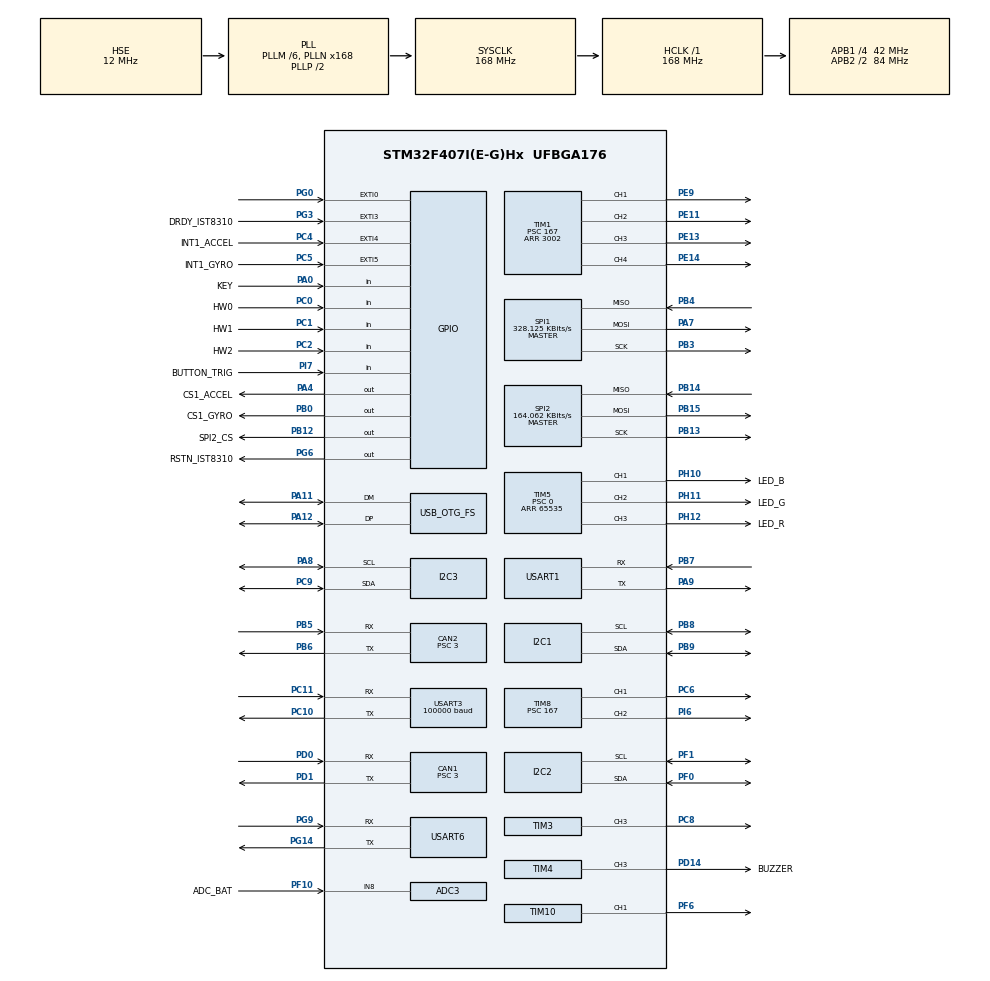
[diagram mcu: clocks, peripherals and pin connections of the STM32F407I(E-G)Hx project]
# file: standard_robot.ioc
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ADC1.Channel-0\#ChannelRegularConversion=ADC_CHANNEL_TEMPSENSOR
ADC1.ClockPrescaler=ADC_CLOCK_SYNC_PCLK_DIV6
ADC1.NbrOfConversionFlag=1
ADC1.Rank-0\#ChannelRegularConversion=1
ADC1.SamplingTime-0\#ChannelRegularConversion=ADC_SAMPLETIME_3CYCLES
ADC1.master=1
ADC3.Channel-0\#ChannelRegularConversion=ADC_CHANNEL_8
ADC3.ClockPrescaler=ADC_CLOCK_SYNC_PCLK_DIV6
ADC3.NbrOfConversionFlag=1
ADC3.Rank-0\#ChannelRegularConversion=1
ADC3.SamplingTime-0\#ChannelRegularConversion=ADC_SAMPLETIME_3CYCLES
CAN1.BS1=CAN_BS1_10TQ
CAN1.BS2=CAN_BS2_3TQ
CAN1.CalculateBaudRate=1000000
CAN1.CalculateTimeQuantum=71.42857142857143
CAN1.Prescaler=3
CAN2.BS1=CAN_BS1_10TQ
CAN2.BS2=CAN_BS2_3TQ
CAN2.CalculateBaudRate=1000000
CAN2.CalculateTimeQuantum=71.42857142857143
CAN2.Prescaler=3
Dma.I2C2_TX.2.Direction=DMA_MEMORY_TO_PERIPH
Dma.I2C2_TX.2.FIFOMode=DMA_FIFOMODE_DISABLE
Dma.I2C2_TX.2.Instance=DMA1_Stream7
Dma.I2C2_TX.2.MemDataAlignment=DMA_MDATAALIGN_BYTE
Dma.I2C2_TX.2.MemInc=DMA_MINC_ENABLE
Dma.I2C2_TX.2.Mode=DMA_NORMAL
Dma.I2C2_TX.2.PeriphDataAlignment=DMA_PDATAALIGN_BYTE
Dma.I2C2_TX.2.PeriphInc=DMA_PINC_DISABLE
Dma.I2C2_TX.2.Priority=DMA_PRIORITY_HIGH
Dma.Request0=SPI1_RX
Dma.Request1=SPI1_TX
Dma.Request2=I2C2_TX
Dma.Request3=USART3_RX
Dma.Request4=USART6_RX
Dma.Request5=USART6_TX
Dma.Request6=USART1_TX
Dma.Request7=USART1_RX
Dma.SPI1_RX.0.Direction=DMA_PERIPH_TO_MEMORY
Dma.SPI1_RX.0.FIFOMode=DMA_FIFOMODE_DISABLE
Dma.SPI1_RX.0.Instance=DMA2_Stream2
Dma.SPI1_RX.0.MemDataAlignment=DMA_MDATAALIGN_BYTE
Dma.SPI1_RX.0.MemInc=DMA_MINC_ENABLE
Dma.SPI1_RX.0.Mode=DMA_NORMAL
Dma.SPI1_RX.0.PeriphDataAlignment=DMA_PDATAALIGN_BYTE
Dma.SPI1_RX.0.PeriphInc=DMA_PINC_DISABLE
Dma.SPI1_RX.0.Priority=DMA_PRIORITY_VERY_HIGH
Dma.SPI1_TX.1.Direction=DMA_MEMORY_TO_PERIPH
Dma.SPI1_TX.1.FIFOMode=DMA_FIFOMODE_DISABLE
Dma.SPI1_TX.1.Instance=DMA2_Stream3
Dma.SPI1_TX.1.MemDataAlignment=DMA_MDATAALIGN_BYTE
Dma.SPI1_TX.1.MemInc=DMA_MINC_ENABLE
Dma.SPI1_TX.1.Mode=DMA_NORMAL
Dma.SPI1_TX.1.PeriphDataAlignment=DMA_PDATAALIGN_BYTE
Dma.SPI1_TX.1.PeriphInc=DMA_PINC_DISABLE
Dma.SPI1_TX.1.Priority=DMA_PRIORITY_HIGH
Dma.USART1_RX.7.Direction=DMA_PERIPH_TO_MEMORY
Dma.USART1_RX.7.FIFOMode=DMA_FIFOMODE_DISABLE
Dma.USART1_RX.7.Instance=DMA2_Stream5
Dma.USART1_RX.7.MemDataAlignment=DMA_MDATAALIGN_BYTE
Dma.USART1_RX.7.MemInc=DMA_MINC_ENABLE
Dma.USART1_RX.7.Mode=DMA_NORMAL
Dma.USART1_RX.7.PeriphDataAlignment=DMA_PDATAALIGN_BYTE
Dma.USART1_RX.7.PeriphInc=DMA_PINC_DISABLE
Dma.USART1_RX.7.Priority=DMA_PRIORITY_LOW
Dma.USART1_TX.6.Direction=DMA_MEMORY_TO_PERIPH
Dma.USART1_TX.6.FIFOMode=DMA_FIFOMODE_DISABLE
Dma.USART1_TX.6.Instance=DMA2_Stream7
Dma.USART1_TX.6.MemDataAlignment=DMA_MDATAALIGN_BYTE
Dma.USART1_TX.6.MemInc=DMA_MINC_ENABLE
Dma.USART1_TX.6.Mode=DMA_NORMAL
Dma.USART1_TX.6.PeriphDataAlignment=DMA_PDATAALIGN_BYTE
Dma.USART1_TX.6.PeriphInc=DMA_PINC_DISABLE
Dma.USART1_TX.6.Priority=DMA_PRIORITY_MEDIUM
Dma.USART3_RX.3.Direction=DMA_PERIPH_TO_MEMORY
Dma.USART3_RX.3.FIFOMode=DMA_FIFOMODE_DISABLE
Dma.USART3_RX.3.Instance=DMA1_Stream1
Dma.USART3_RX.3.MemDataAlignment=DMA_MDATAALIGN_BYTE
Dma.USART3_RX.3.MemInc=DMA_MINC_ENABLE
Dma.USART3_RX.3.Mode=DMA_NORMAL
Dma.USART3_RX.3.PeriphDataAlignment=DMA_PDATAALIGN_BYTE
Dma.USART3_RX.3.PeriphInc=DMA_PINC_DISABLE
Dma.USART3_RX.3.Priority=DMA_PRIORITY_HIGH
Dma.USART6_RX.4.Direction=DMA_PERIPH_TO_MEMORY
Dma.USART6_RX.4.FIFOMode=DMA_FIFOMODE_DISABLE
Dma.USART6_RX.4.Instance=DMA2_Stream1
Dma.USART6_RX.4.MemDataAlignment=DMA_MDATAALIGN_BYTE
Dma.USART6_RX.4.MemInc=DMA_MINC_ENABLE
Dma.USART6_RX.4.Mode=DMA_NORMAL
Dma.USART6_RX.4.PeriphDataAlignment=DMA_PDATAALIGN_BYTE
Dma.USART6_RX.4.PeriphInc=DMA_PINC_DISABLE
Dma.USART6_RX.4.Priority=DMA_PRIORITY_HIGH
Dma.USART6_TX.5.Direction=DMA_MEMORY_TO_PERIPH
Dma.USART6_TX.5.FIFOMode=DMA_FIFOMODE_DISABLE
Dma.USART6_TX.5.Instance=DMA2_Stream6
Dma.USART6_TX.5.MemDataAlignment=DMA_MDATAALIGN_BYTE
Dma.USART6_TX.5.MemInc=DMA_MINC_ENABLE
Dma.USART6_TX.5.Mode=DMA_NORMAL
Dma.USART6_TX.5.PeriphDataAlignment=DMA_PDATAALIGN_BYTE
Dma.USART6_TX.5.PeriphInc=DMA_PINC_DISABLE
Dma.USART6_TX.5.Priority=DMA_PRIORITY_MEDIUM
FREERTOS.INCLUDE_eTaskGetState=1
FREERTOS.INCLUDE_pcTaskGetTaskName=1
FREERTOS.INCLUDE_uxTaskGetStackHighWaterMark=1
FREERTOS.INCLUDE_vTaskCleanUpResources=1
FREERTOS.INCLUDE_vTaskDelayUntil=1
FREERTOS.INCLUDE_xEventGroupSetBitFromISR=1
FREERTOS.INCLUDE_xQueueGetMutexHolder=1
FREERTOS.INCLUDE_xSemaphoreGetMutexHolder=1
FREERTOS.INCLUDE_xTaskAbortDelay=1
FREERTOS.INCLUDE_xTaskGetCurrentTaskHandle=1
FREERTOS.INCLUDE_xTaskGetHandle=1
FREERTOS.INCLUDE_xTimerPendFunctionCall=1
FREERTOS.Tasks01=test,0,512,test_task,As weak,NULL,Dynamic,NULL,NULL;vofaTask,0,512,vofa_task,As external,NULL,Dynamic,NULL,NULL
FREERTOS.configTOTAL_HEAP_SIZE=28672
I2C1.I2C_Mode=I2C_Fast
I2C2.I2C_Mode=I2C_Fast
I2C3.I2C_Mode=I2C_Fast
Mcu.Family=STM32F4
Mcu.Name=STM32F407I(E-G)Hx
Mcu.Package=UFBGA176
NVIC.CAN1_RX0_IRQn=true\:5\:0\:true\:false\:true\:true\:true\:true\:true
NVIC.CAN2_RX0_IRQn=true\:6\:0\:true\:false\:true\:true\:true\:true\:true
NVIC.DMA1_Stream1_IRQn=true\:5\:0\:true\:false\:false\:true\:false\:false\:true
NVIC.DMA1_Stream7_IRQn=true\:5\:0\:true\:false\:false\:true\:false\:true\:true
NVIC.DMA2_Stream1_IRQn=true\:5\:0\:true\:false\:true\:true\:false\:true\:true
NVIC.DMA2_Stream2_IRQn=true\:5\:0\:true\:false\:false\:true\:false\:true\:true
NVIC.DMA2_Stream3_IRQn=true\:5\:0\:true\:false\:false\:true\:false\:true\:true
NVIC.DMA2_Stream5_IRQn=true\:5\:0\:false\:false\:true\:true\:false\:true\:true
NVIC.DMA2_Stream6_IRQn=true\:5\:0\:true\:false\:true\:true\:false\:true\:true
NVIC.DMA2_Stream7_IRQn=true\:5\:0\:true\:false\:true\:true\:false\:true\:true
NVIC.EXTI0_IRQn=true\:6\:0\:true\:false\:true\:true\:true\:true\:true
NVIC.EXTI3_IRQn=true\:5\:0\:true\:false\:true\:true\:true\:true\:true
NVIC.EXTI4_IRQn=true\:5\:0\:true\:false\:true\:true\:true\:true\:true
NVIC.EXTI9_5_IRQn=true\:5\:0\:true\:false\:true\:true\:true\:true\:true
NVIC.OTG_FS_IRQn=true\:5\:0\:false\:false\:true\:true\:false\:true\:true
NVIC.PriorityGroup=NVIC_PRIORITYGROUP_4
NVIC.TIM2_IRQn=true\:15\:0\:false\:false\:true\:false\:false\:true\:true
NVIC.TIM6_DAC_IRQn=true\:5\:0\:false\:false\:true\:true\:true\:true\:true
NVIC.TimeBase=TIM2_IRQn
NVIC.TimeBaseIP=TIM2
NVIC.USART1_IRQn=true\:5\:0\:false\:false\:true\:true\:true\:true\:true
NVIC.USART3_IRQn=true\:4\:0\:true\:false\:false\:false\:true\:true\:true
NVIC.USART6_IRQn=true\:5\:0\:true\:false\:false\:true\:true\:true\:true
PA0-WKUP.GPIO_Label=KEY
PA0-WKUP.GPIO_PuPd=GPIO_PULLUP
PA0-WKUP.Signal=GPIO_Input
PA10.Signal=USB_OTG_FS_ID
PA11.Mode=Device_Only
PA11.Signal=USB_OTG_FS_DM
PA12.Mode=Device_Only
PA12.Signal=USB_OTG_FS_DP
PA13.Mode=Serial_Wire
PA13.Signal=SYS_JTMS-SWDIO
PA14.Mode=Serial_Wire
PA14.Signal=SYS_JTCK-SWCLK
PA4.GPIO_Label=CS1_ACCEL
PA4.GPIO_PuPd=GPIO_PULLUP
PA4.GPIO_Speed=GPIO_SPEED_FREQ_HIGH
PA4.PinState=GPIO_PIN_SET
PA4.Signal=GPIO_Output
PA7.GPIO_PuPd=GPIO_PULLUP
PA7.Mode=Full_Duplex_Master
PA7.Signal=SPI1_MOSI
PA8.GPIO_Pu=GPIO_PULLUP
PA8.Mode=I2C
PA8.Signal=I2C3_SCL
PA9.Mode=Asynchronous
PA9.Signal=USART1_TX
PB0.GPIO_Label=CS1_GYRO
PB0.GPIO_PuPd=GPIO_PULLUP
PB0.GPIO_Speed=GPIO_SPEED_FREQ_HIGH
PB0.PinState=GPIO_PIN_SET
PB0.Signal=GPIO_Output
PB12.GPIO_Label=SPI2_CS
PB12.GPIO_PuPd=GPIO_PULLUP
PB12.GPIO_Speed=GPIO_SPEED_FREQ_MEDIUM
PB12.PinState=GPIO_PIN_SET
PB12.Signal=GPIO_Output
PB13.GPIO_PuPd=GPIO_PULLUP
PB13.Mode=Full_Duplex_Master
PB13.Signal=SPI2_SCK
PB14.GPIO_PuPd=GPIO_PULLUP
PB14.Mode=Full_Duplex_Master
PB14.Signal=SPI2_MISO
PB15.GPIO_PuPd=GPIO_PULLUP
PB15.Mode=Full_Duplex_Master
PB15.Signal=SPI2_MOSI
PB3.GPIO_PuPd=GPIO_PULLUP
PB3.Mode=Full_Duplex_Master
PB3.Signal=SPI1_SCK
PB4.GPIO_PuPd=GPIO_PULLUP
PB4.Mode=Full_Duplex_Master
PB4.Signal=SPI1_MISO
PB5.Mode=CAN_Activate
PB5.Signal=CAN2_RX
PB6.Mode=CAN_Activate
PB6.Signal=CAN2_TX
PB7.Mode=Asynchronous
PB7.Signal=USART1_RX
PB8.GPIO_Pu=GPIO_PULLUP
PB8.Mode=I2C
PB8.Signal=I2C1_SCL
PB9.GPIO_Pu=GPIO_PULLUP
PB9.Mode=I2C
PB9.Signal=I2C1_SDA
PC0.GPIO_Label=HW0
PC0.Signal=GPIO_Input
PC1.GPIO_Label=HW1
PC1.Signal=GPIO_Input
PC10.Mode=Asynchronous
PC10.Signal=USART3_TX
PC11.Mode=Asynchronous
PC11.Signal=USART3_RX
PC2.GPIO_Label=HW2
PC2.Signal=GPIO_Input
PC4.GPIO_Label=INT1_ACCEL
PC4.GPIO_ModeDefaultEXTI=GPIO_MODE_IT_FALLING
PC4.GPIO_PuPd=GPIO_PULLUP
PC4.Signal=GPXTI4
PC5.GPIO_Label=INT1_GYRO
PC5.GPIO_ModeDefaultEXTI=GPIO_MODE_IT_FALLING
PC5.GPIO_PuPd=GPIO_PULLUP
PC5.Signal=GPXTI5
PC6.GPIO_PuPd=GPIO_PULLUP
PC6.GPIO_Speed=GPIO_SPEED_FREQ_HIGH
PC6.Signal=S_TIM8_CH1
PC8.GPIO_PuPd=GPIO_PULLUP
PC8.GPIO_Speed=GPIO_SPEED_FREQ_HIGH
PC8.Signal=S_TIM3_CH3
PC9.GPIO_Pu=GPIO_PULLUP
PC9.Mode=I2C
PC9.Signal=I2C3_SDA
PD0.Mode=CAN_Activate
PD0.Signal=CAN1_RX
PD1.Mode=CAN_Activate
PD1.Signal=CAN1_TX
PD14.GPIO_Label=BUZZER
PD14.GPIO_PuPd=GPIO_PULLUP
PD14.GPIO_Speed=GPIO_SPEED_FREQ_VERY_HIGH
PD14.Signal=S_TIM4_CH3
PE11.GPIO_PuPd=GPIO_PULLUP
PE11.GPIO_Speed=GPIO_SPEED_FREQ_HIGH
PE11.Signal=S_TIM1_CH2
PE13.GPIO_PuPd=GPIO_PULLUP
PE13.GPIO_Speed=GPIO_SPEED_FREQ_HIGH
PE13.Signal=S_TIM1_CH3
PE14.GPIO_PuPd=GPIO_PULLUP
PE14.GPIO_Speed=GPIO_SPEED_FREQ_HIGH
PE14.Signal=S_TIM1_CH4
PE9.GPIO_PuPd=GPIO_PULLUP
PE9.GPIO_Speed=GPIO_SPEED_FREQ_HIGH
PE9.Signal=S_TIM1_CH1
PF0.GPIO_Pu=GPIO_PULLUP
PF0.Mode=I2C
PF0.Signal=I2C2_SDA
PF1.GPIO_Pu=GPIO_PULLUP
PF1.Mode=I2C
PF1.Signal=I2C2_SCL
PF10.GPIO_Label=ADC_BAT
PF10.Mode=IN8
PF10.Signal=ADC3_IN8
PF6.GPIO_PuPd=GPIO_PULLUP
PF6.GPIO_Speed=GPIO_SPEED_FREQ_HIGH
PF6.Signal=S_TIM10_CH1
PG0.GPIO_ModeDefaultEXTI=GPIO_MODE_IT_FALLING
PG0.GPIO_PuPd=GPIO_PULLUP
PG0.Signal=GPXTI0
PG14.Mode=Asynchronous
PG14.Signal=USART6_TX
PG3.GPIO_Label=DRDY_IST8310
PG3.GPIO_ModeDefaultEXTI=GPIO_MODE_IT_FALLING
PG3.GPIO_PuPd=GPIO_PULLUP
PG3.Signal=GPXTI3
PG6.GPIO_Label=RSTN_IST8310
PG6.GPIO_PuPd=GPIO_PULLUP
PG6.GPIO_Speed=GPIO_SPEED_FREQ_MEDIUM
PG6.PinState=GPIO_PIN_SET
PG6.Signal=GPIO_Output
PG9.Mode=Asynchronous
PG9.Signal=USART6_RX
PH0-OSC_IN.Mode=HSE-External-Oscillator
PH0-OSC_IN.Signal=RCC_OSC_IN
PH1-OSC_OUT.Mode=HSE-External-Oscillator
PH1-OSC_OUT.Signal=RCC_OSC_OUT
PH10.GPIO_Label=LED_B
PH10.GPIO_PuPd=GPIO_PULLUP
PH10.GPIO_Speed=GPIO_SPEED_FREQ_HIGH
PH10.Signal=S_TIM5_CH1
PH11.GPIO_Label=LED_G
PH11.GPIO_PuPd=GPIO_PULLUP
PH11.GPIO_Speed=GPIO_SPEED_FREQ_HIGH
PH11.Signal=S_TIM5_CH2
PH12.GPIO_Label=LED_R
PH12.GPIO_PuPd=GPIO_PULLUP
PH12.GPIO_Speed=GPIO_SPEED_FREQ_HIGH
PH12.Signal=S_TIM5_CH3
PI6.GPIO_PuPd=GPIO_PULLUP
PI6.GPIO_Speed=GPIO_SPEED_FREQ_HIGH
PI6.Signal=S_TIM8_CH2
PI7.GPIO_Label=BUTTON_TRIG
PI7.GPIO_PuPd=GPIO_PULLUP
PI7.Signal=GPIO_Input
ProjectManager.HeapSize=0x2000
ProjectManager.StackSize=0x2000
ProjectManager.TargetToolchain=MDK-ARM V5
RCC.48MHZClocksFreq_Value=48000000
RCC.AHBFreq_Value=168000000
RCC.APB1CLKDivider=RCC_HCLK_DIV4
RCC.APB1Freq_Value=42000000
RCC.APB1TimFreq_Value=84000000
RCC.APB2CLKDivider=RCC_HCLK_DIV2
RCC.APB2Freq_Value=84000000
RCC.APB2TimFreq_Value=168000000
RCC.CortexFreq_Value=168000000
RCC.HCLKFreq_Value=168000000
RCC.HSE_VALUE=12000000
RCC.HSI_VALUE=16000000
RCC.LSE_VALUE=32768
RCC.PLLM=6
RCC.PLLN=168
RCC.PLLQ=7
RCC.RCC_RTC_Clock_SourceVirtual=RCC_RTCCLKSOURCE_HSE_DIV30
RCC.RCC_RTC_Clock_Source_FROM_HSE=RCC_RTCCLKSOURCE_HSE_DIV30
RCC.SYSCLKFreq_VALUE=168000000
RCC.SYSCLKSource=RCC_SYSCLKSOURCE_PLLCLK
RCC.VCOOutputFreq_Value=336000000
RTC.AsynchPrediv=124
RTC.SynchPrediv=3199
SH.S_TIM10_CH1.0=TIM10_CH1,PWM Generation1 CH1
SH.S_TIM1_CH1.0=TIM1_CH1,PWM Generation1 CH1
SH.S_TIM1_CH2.0=TIM1_CH2,PWM Generation2 CH2
SH.S_TIM1_CH3.0=TIM1_CH3,PWM Generation3 CH3
SH.S_TIM1_CH4.0=TIM1_CH4,PWM Generation4 CH4
SH.S_TIM3_CH3.0=TIM3_CH3,PWM Generation3 CH3
SH.S_TIM4_CH3.0=TIM4_CH3,PWM Generation3 CH3
SH.S_TIM5_CH1.0=TIM5_CH1,PWM Generation1 CH1
SH.S_TIM5_CH2.0=TIM5_CH2,PWM Generation2 CH2
SH.S_TIM5_CH3.0=TIM5_CH3,PWM Generation3 CH3
SH.S_TIM8_CH1.0=TIM8_CH1,PWM Generation1 CH1
SH.S_TIM8_CH2.0=TIM8_CH2,PWM Generation2 CH2
SPI1.BaudRatePrescaler=SPI_BAUDRATEPRESCALER_256
SPI1.CLKPhase=SPI_PHASE_2EDGE
SPI1.CLKPolarity=SPI_POLARITY_HIGH
SPI1.CalculateBaudRate=328.125 KBits/s
SPI1.Direction=SPI_DIRECTION_2LINES
SPI1.Mode=SPI_MODE_MASTER
SPI1.VirtualType=VM_MASTER
SPI2.BaudRatePrescaler=SPI_BAUDRATEPRESCALER_256
SPI2.CLKPhase=SPI_PHASE_2EDGE
SPI2.CLKPolarity=SPI_POLARITY_HIGH
SPI2.CalculateBaudRate=164.062 KBits/s
SPI2.Direction=SPI_DIRECTION_2LINES
SPI2.Mode=SPI_MODE_MASTER
SPI2.VirtualType=VM_MASTER
STMicroelectronics.X-CUBE-ALGOBUILD.1.4.0.LibraryCcDSPOoLibraryJjDSPOoLibrary=true
TIM1.Channel-PWM\ Generation1\ CH1=TIM_CHANNEL_1
TIM1.Channel-PWM\ Generation2\ CH2=TIM_CHANNEL_2
TIM1.Channel-PWM\ Generation3\ CH3=TIM_CHANNEL_3
TIM1.Channel-PWM\ Generation4\ CH4=TIM_CHANNEL_4
TIM1.Period=3002
TIM1.Prescaler=167
TIM1.Pulse-PWM\ Generation1\ CH1=1000
TIM1.Pulse-PWM\ Generation2\ CH2=1000
TIM1.Pulse-PWM\ Generation3\ CH3=1000
TIM1.Pulse-PWM\ Generation4\ CH4=1000
TIM10.Channel=TIM_CHANNEL_1
TIM10.Period=4999
TIM3.Channel-PWM\ Generation3\ CH3=TIM_CHANNEL_3
TIM3.Period=8399
TIM4.Channel-PWM\ Generation3\ CH3=TIM_CHANNEL_3
TIM4.Period=65535
TIM4.Prescaler=167
TIM5.Channel-PWM\ Generation1\ CH1=TIM_CHANNEL_1
TIM5.Channel-PWM\ Generation2\ CH2=TIM_CHANNEL_2
TIM5.Channel-PWM\ Generation3\ CH3=TIM_CHANNEL_3
TIM5.Period=65535
TIM5.Prescaler=0
TIM6.AutoReloadPreload=TIM_AUTORELOAD_PRELOAD_ENABLE
TIM6.Period=19
TIM6.Prescaler=8399
TIM8.Channel-PWM\ Generation1\ CH1=TIM_CHANNEL_1
TIM8.Channel-PWM\ Generation2\ CH2=TIM_CHANNEL_2
TIM8.Period=19999
TIM8.Prescaler=167
TIM8.Pulse-PWM\ Generation1\ CH1=1000
TIM8.Pulse-PWM\ Generation2\ CH2=1000
USART1.VirtualMode=VM_ASYNC
USART3.BaudRate=100000
USART3.Parity=PARITY_EVEN
USART3.VirtualMode=VM_ASYNC
USART6.VirtualMode=VM_ASYNC
USB_DEVICE.CLASS_NAME_FS=CDC
USB_DEVICE.VirtualMode-CDC_FS=Cdc
USB_DEVICE.VirtualModeFS=Cdc_FS
USB_OTG_FS.VirtualMode=Device_Only
VP_ADC1_TempSens_Input.Mode=IN-TempSens
VP_ADC1_Vref_Input.Mode=IN-Vrefint
VP_CRC_VS_CRC.Mode=CRC_Activate
VP_FREERTOS_VS_CMSIS_V1.Mode=CMSIS_V1
VP_RNG_VS_RNG.Mode=RNG_Activate
VP_RTC_VS_RTC_Activate.Mode=RTC_Enabled
VP_STMicroelectronics.X-CUBE-ALGOBUILD_VS_DSPOoLibraryJjLibrary_1.4.0_1.4.0.Mode=DSPOoLibraryJjLibrary
VP_SYS_VS_tim2.Mode=TIM2
VP_TIM10_VS_ClockSourceINT.Mode=Enable_Timer
VP_TIM1_VS_ClockSourceINT.Mode=Internal
VP_TIM3_VS_ClockSourceINT.Mode=Internal
VP_TIM4_VS_ClockSourceINT.Mode=Internal
VP_TIM5_VS_ClockSourceINT.Mode=Internal
VP_TIM6_VS_ClockSourceINT.Mode=Enable_Timer
VP_TIM8_VS_ClockSourceINT.Mode=Internal
VP_USB_DEVICE_VS_USB_DEVICE_CDC_FS.Mode=CDC_FS
board=custom

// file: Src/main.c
/* USER CODE BEGIN Header */
/**
  ******************************************************************************
  * @file           : main.c
  * @brief          : Main program body
  ******************************************************************************
  * @attention
  *
  * Copyright (c) 2025 STMicroelectronics.
  * All rights reserved.
  *
  * This software is licensed under terms that can be found in the LICENSE file
  * in the root directory of this software component.
  * If no LICENSE file comes with this software, it is provided AS-IS.
  *
  ******************************************************************************
  */
/* USER CODE END Header */
#include "main.h"
#include "cmsis_os.h"
#include "adc.h"
#include "can.h"
#include "crc.h"
#include "dma.h"
#include "i2c.h"
#include "rng.h"
#include "rtc.h"
#include "spi.h"
#include "tim.h"
#include "usart.h"
#include "usb_device.h"
#include "gpio.h"

/* USER CODE BEGIN Includes */
#include "bsp_can.h"
#include "bsp_delay.h"
#include "bsp_dwt.h"
#include "bsp_usart.h"
#include "remote_control.h"
#include "can_recieve_send.h"
#include "gimbal_task.h"
#include "INS_task.h"
#include "led_flow_task.h"
#include "NX_communicate.h"
#include <stdarg.h>
/* USER CODE END Includes */

/* USER CODE BEGIN PD */
#define RC_LOST_TIME_MS  500   // 500ms遥控离线上限
/* USER CODE END PD */

/* USER CODE BEGIN PV */
volatile uint32_t sys_time_ms = 0;
volatile uint32_t rc_error_count = 0;//遥控器通信错误计数
volatile uint8_t  rc_online = 0;     // 遥控器在线状态：0-离线，1-在线
/* USER CODE END PV */

void SystemClock_Config(void);
void MX_FREERTOS_Init(void);

int main(void)
{

  /* MCU Configuration--------------------------------------------------------*/

  /* Reset of all peripherals, Initializes the Flash interface and the Systick. */
  HAL_Init();

  /* Configure the system clock */
  SystemClock_Config();

  /* Initialize all configured peripherals */
  MX_GPIO_Init();
  MX_DMA_Init();
  MX_ADC1_Init();
  MX_ADC3_Init();
  MX_CAN1_Init();
  MX_CAN2_Init();
  MX_I2C1_Init();
  MX_SPI1_Init();
  MX_TIM4_Init();
  MX_TIM5_Init();
  MX_USART3_UART_Init();
  MX_TIM8_Init();
  MX_CRC_Init();
  MX_RNG_Init();
  MX_I2C2_Init();
  MX_I2C3_Init();
  MX_RTC_Init();
  MX_SPI2_Init();
  MX_TIM1_Init();
  MX_TIM3_Init();
  MX_TIM10_Init();
  MX_USART1_UART_Init();
  MX_USART6_UART_Init();
  MX_TIM6_Init();
  /* USER CODE BEGIN 2 */
  HAL_TIM_Base_Start_IT(&htim6);
  can_filter_init();
  remote_control_init();
  NXrecieve_Init();
  DWT_Init(168);
  while (BMI088_init(&hspi1, 1) != BMI088_NO_ERROR)
  	;
  /* USER CODE END 2 */

  /* Call init function for freertos objects (in cmsis_os2.c) */
  MX_FREERTOS_Init();

  /* Start scheduler */
  osKernelStart();

  /* We should never get here as control is now taken by the scheduler */

  /* Infinite loop */
  while (1)
  {

  }
}

void SystemClock_Config(void)
{
  RCC_OscInitTypeDef RCC_OscInitStruct = {0};
  RCC_ClkInitTypeDef RCC_ClkInitStruct = {0};

  /** Configure the main internal regulator output voltage
  */
  __HAL_RCC_PWR_CLK_ENABLE();
  __HAL_PWR_VOLTAGESCALING_CONFIG(PWR_REGULATOR_VOLTAGE_SCALE1);

  /** Initializes the RCC Oscillators according to the specified parameters
  * in the RCC_OscInitTypeDef structure.
  */
  RCC_OscInitStruct.OscillatorType = RCC_OSCILLATORTYPE_HSE;
  RCC_OscInitStruct.HSEState = RCC_HSE_ON;
  RCC_OscInitStruct.PLL.PLLState = RCC_PLL_ON;
  RCC_OscInitStruct.PLL.PLLSource = RCC_PLLSOURCE_HSE;
  RCC_OscInitStruct.PLL.PLLM = 6;
  RCC_OscInitStruct.PLL.PLLN = 168;
  RCC_OscInitStruct.PLL.PLLP = RCC_PLLP_DIV2;
  RCC_OscInitStruct.PLL.PLLQ = 7;
  if (HAL_RCC_OscConfig(&RCC_OscInitStruct) != HAL_OK)
  {
    Error_Handler();
  }

  /** Initializes the CPU, AHB and APB buses clocks
  */
  RCC_ClkInitStruct.ClockType = RCC_CLOCKTYPE_HCLK|RCC_CLOCKTYPE_SYSCLK
                              |RCC_CLOCKTYPE_PCLK1|RCC_CLOCKTYPE_PCLK2;
  RCC_ClkInitStruct.SYSCLKSource = RCC_SYSCLKSOURCE_PLLCLK;
  RCC_ClkInitStruct.AHBCLKDivider = RCC_SYSCLK_DIV1;
  RCC_ClkInitStruct.APB1CLKDivider = RCC_HCLK_DIV4;
  RCC_ClkInitStruct.APB2CLKDivider = RCC_HCLK_DIV2;

  if (HAL_RCC_ClockConfig(&RCC_ClkInitStruct, FLASH_LATENCY_5) != HAL_OK)
  {
    Error_Handler();
  }
}

void HAL_TIM_PeriodElapsedCallback(TIM_HandleTypeDef *htim)
{
  if (htim->Instance == TIM2)
  {
    HAL_IncTick();
  }
  /* USER CODE BEGIN Callback 1 */
  if (htim->Instance == TIM6)
  {
      sys_time_ms++;
// RC online check
      if (rc_error_count < RC_LOST_TIME_MS)
      {
          rc_error_count++;
      }
      else
      {
          rc_online = 0;
      }
  }
  /* USER CODE END Callback 1 */
}

void Error_Handler(void)
{
  __disable_irq();
  while (1)
  {
  }
}

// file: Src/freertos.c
/* USER CODE BEGIN Header */
/**
  ******************************************************************************
  * File Name          : freertos.c
  * Description        : Code for freertos applications
  ******************************************************************************
  * @attention
  *
  * Copyright (c) 2025 STMicroelectronics.
  * All rights reserved.
  *
  * This software is licensed under terms that can be found in the LICENSE file
  * in the root directory of this software component.
  * If no LICENSE file comes with this software, it is provided AS-IS.
  *
  ******************************************************************************
  */
/* USER CODE END Header */

#include "FreeRTOS.h"
#include "task.h"
#include "main.h"
#include "cmsis_os.h"

/* USER CODE BEGIN Includes */
#include "communication_task.h"
#include "led_flow_task.h"
#include "robot_total_mode.h"
#include "INS_task.h"
#include "gimbal_task.h"
#include "shoot_task.h"
#include "NX_communicate.h"
#include "Reset_task.h"
#include "vofa_task.h"
/* USER CODE END Includes */

/* USER CODE BEGIN PTD */
osThreadId detect_handle;
osThreadId communicationTask_handle;
osThreadId led_RGB_flow_handle;
osThreadId imuTaskHandle;
osThreadId gimbalTaskHandle;
osThreadId shootTaskTask_handle;
osThreadId robot_total_mode_task_handle;
osThreadId NX_handle;
osThreadId resetTaskHandle;
/* USER CODE END PTD */

osThreadId testHandle;
osThreadId vofaTaskHandle;

/* USER CODE BEGIN FunctionPrototypes */
void start_INS_task(void const * argument);
/* USER CODE END FunctionPrototypes */

void test_task(void const * argument);
extern void vofa_task(void const * argument);

extern void MX_USB_DEVICE_Init(void);
void MX_FREERTOS_Init(void); /* (MISRA C 2004 rule 8.1) */

/* GetIdleTaskMemory prototype (linked to static allocation support) */
void vApplicationGetIdleTaskMemory( StaticTask_t **ppxIdleTaskTCBBuffer, StackType_t **ppxIdleTaskStackBuffer, uint32_t *pulIdleTaskStackSize );

/* GetTimerTaskMemory prototype (linked to static allocation support) */
void vApplicationGetTimerTaskMemory( StaticTask_t **ppxTimerTaskTCBBuffer, StackType_t **ppxTimerTaskStackBuffer, uint32_t *pulTimerTaskStackSize );

/* USER CODE BEGIN GET_IDLE_TASK_MEMORY */
static StaticTask_t xIdleTaskTCBBuffer;
static StackType_t xIdleStack[configMINIMAL_STACK_SIZE];

void vApplicationGetIdleTaskMemory( StaticTask_t **ppxIdleTaskTCBBuffer, StackType_t **ppxIdleTaskStackBuffer, uint32_t *pulIdleTaskStackSize )
{
  *ppxIdleTaskTCBBuffer = &xIdleTaskTCBBuffer;
  *ppxIdleTaskStackBuffer = &xIdleStack[0];
  *pulIdleTaskStackSize = configMINIMAL_STACK_SIZE;
  /* place for user code */
}
/* USER CODE END GET_IDLE_TASK_MEMORY */

/* USER CODE BEGIN GET_TIMER_TASK_MEMORY */
static StaticTask_t xTimerTaskTCBBuffer;
static StackType_t xTimerStack[configTIMER_TASK_STACK_DEPTH];

void vApplicationGetTimerTaskMemory( StaticTask_t **ppxTimerTaskTCBBuffer, StackType_t **ppxTimerTaskStackBuffer, uint32_t *pulTimerTaskStackSize )
{
  *ppxTimerTaskTCBBuffer = &xTimerTaskTCBBuffer;
  *ppxTimerTaskStackBuffer = &xTimerStack[0];
  *pulTimerTaskStackSize = configTIMER_TASK_STACK_DEPTH;
  /* place for user code */
}
/* USER CODE END GET_TIMER_TASK_MEMORY */

void MX_FREERTOS_Init(void) {

  /* Create the thread(s) */
  /* definition and creation of test */
  osThreadDef(test, test_task, osPriorityNormal, 0, 512);
  testHandle = osThreadCreate(osThread(test), NULL);

  /* definition and creation of vofaTask; registered in standard_robot.ioc */
  osThreadDef(vofaTask, vofa_task, osPriorityNormal, 0, 512);
  vofaTaskHandle = osThreadCreate(osThread(vofaTask), NULL);

  /* USER CODE BEGIN RTOS_THREADS */
  osThreadDef(led, led_RGB_flow_task, osPriorityNormal, 0, 512);
  led_RGB_flow_handle = osThreadCreate(osThread(led), NULL);

  osThreadDef(COMMUNICATION, communication_task, osPriorityRealtime, 0, 512);
  communicationTask_handle = osThreadCreate(osThread(COMMUNICATION), NULL);

  osThreadDef(gimbalTask, gimbal_task, osPriorityHigh, 0, 1024);
  gimbalTaskHandle = osThreadCreate(osThread(gimbalTask), NULL);

  osThreadDef(imuTask, start_INS_task, osPriorityRealtime, 0, 1024);
  imuTaskHandle = osThreadCreate(osThread(imuTask), NULL);

  osThreadDef(shootTask, shoot_task, osPriorityHigh, 0, 1024);
  shootTaskTask_handle = osThreadCreate(osThread(shootTask), NULL);

  osThreadDef(totalmodetask,robot_total_mode_task,osPriorityHigh,0,512);
  robot_total_mode_task_handle = osThreadCreate(osThread(totalmodetask),NULL);

  osThreadDef(reset, reset_task, osPriorityNormal, 0, 128);
  resetTaskHandle = osThreadCreate(osThread(reset), NULL);
  /* USER CODE END RTOS_THREADS */

}

__weak void test_task(void const * argument)
{
  /* init code for USB_DEVICE */
  MX_USB_DEVICE_Init();
  /* USER CODE BEGIN test_task */
  /* Infinite loop */
  for(;;)
  {
    // test任务保留CubeMX生成的USB初始化，串口调参交给独立vofa_task。
    osDelay(1000);
  }
  /* USER CODE END test_task */
}

/* USER CODE BEGIN Application */
void start_INS_task(void const * argurment)
{
	INS_Init();
	while(1){
		INS_Task();
		osDelay(1);
	}
}
/* USER CODE END Application */
